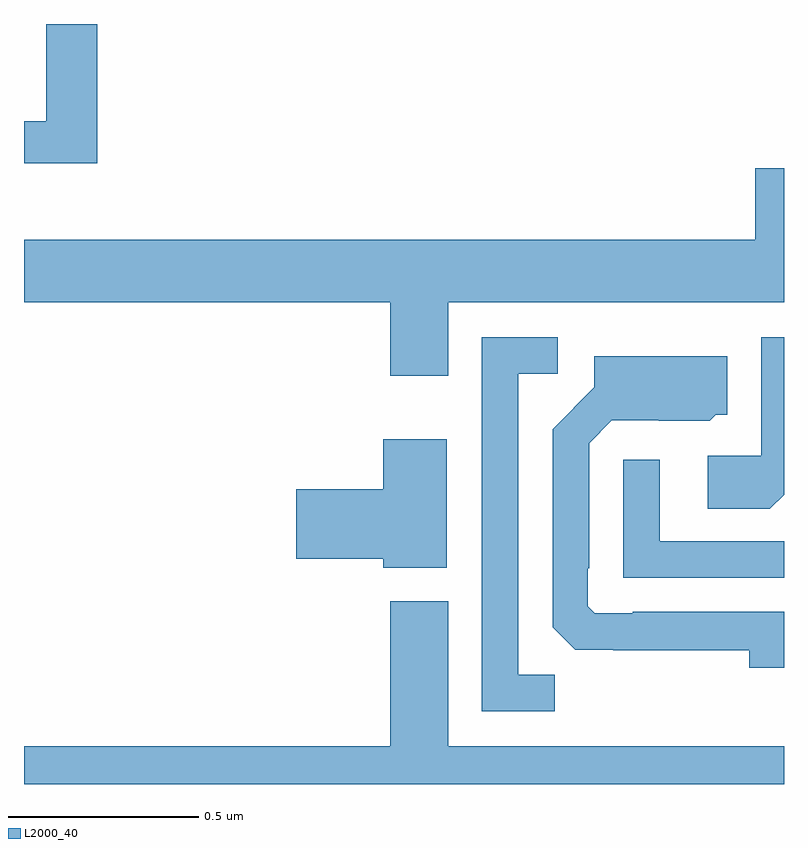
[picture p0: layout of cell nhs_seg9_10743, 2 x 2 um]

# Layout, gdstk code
import gdstk
lib = gdstk.Library(unit=1e-6, precision=1e-09)
def P(c, l, *ps):  # polygons
    for p in ps: c.add(gdstk.Polygon(p, *l))
L2000_40 = (2000, 40)

nhs_seg9_10743 = lib.new_cell('nhs_seg9_10743')
P(nhs_seg9_10743, L2000_40, [(247.193,1182.5),(247.058,1182.5),(247.058,1182.244),(247,1182.244),(247,1182.134),(247.193,1182.134)],
  [(248.116,1181.768),(249,1181.768),(249,1182.121),(248.924,1182.121),(248.924,1181.932),(247,1181.932),(247,1181.768),(247.964,1181.768),(247.964,1181.574),(248.116,1181.574)],
  [(249,1181.261),(249,1181.676),(248.94,1181.676),(248.94,1181.364),(248.799,1181.364),(248.799,1181.224),(248.963,1181.224)],
  [(248.397,1180.787),(248.301,1180.787),(248.301,1181.58),(248.404,1181.58),(248.404,1181.676),(248.205,1181.676),(248.205,1180.692),(248.397,1180.692)],
  [(249,1180.953),(248.602,1180.953),(248.602,1180.95),(248.502,1180.95),(248.484,1180.968),(248.484,1181.068),(248.487,1181.068),(248.487,1181.397),(248.547,1181.457),(248.67,1181.457),(248.67,1181.456),(248.804,1181.456),(248.82,1181.472),(248.851,1181.472),(248.851,1181.626),(248.501,1181.626),(248.501,1181.544),(248.391,1181.434),(248.391,1180.912),(248.45,1180.853),(248.551,1180.853),(248.551,1180.852),(248.908,1180.852),(248.908,1180.806),(249,1180.806)],
  [(248.113,1181.407),(247.946,1181.407),(247.946,1181.276),(247.716,1181.276),(247.716,1181.093),(247.946,1181.093),(247.946,1181.069),(248.113,1181.069)],
  [(249,1181.139),(248.673,1181.139),(248.673,1181.353),(248.577,1181.353),(248.577,1181.043),(249,1181.043)],
  [(249,1180.6),(248.116,1180.6),(248.116,1180.981),(247.964,1180.981),(247.964,1180.6),(247,1180.6),(247,1180.5),(249,1180.5)])

lib.write_gds('nhs_seg9_10743.gds')
